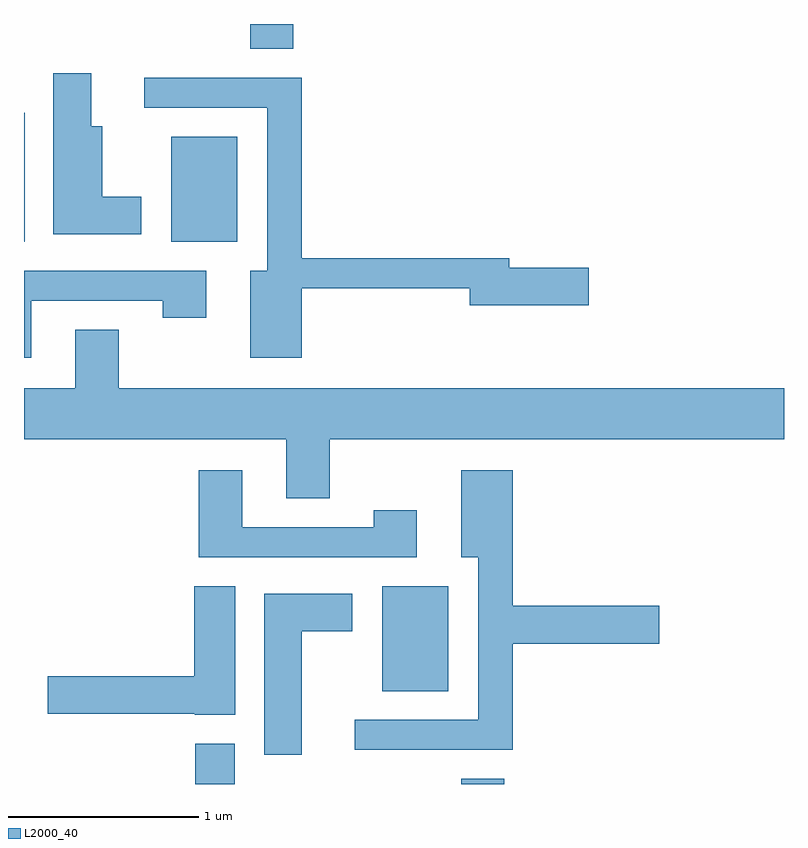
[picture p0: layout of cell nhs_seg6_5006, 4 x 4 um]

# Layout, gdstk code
import gdstk
lib = gdstk.Library(unit=1e-6, precision=1e-09)
def R(c, l, rs):  # rectangles x0, y0, x1, y1
    for r in rs: c.add(gdstk.rectangle(r[:2], r[2:], *l))
def P(c, l, *ps):  # polygons
    for p in ps: c.add(gdstk.Polygon(p, *l))
L2000_40 = (2000, 40)

nhs_seg6_5006 = lib.new_cell('nhs_seg6_5006')
R(nhs_seg6_5006, L2000_40, [(338.511,1608.162,338.719,1608.374), (339.911,1608.162,340.139,1608.189), (339.496,1608.651,339.844,1609.204), (337.611,1611.016,337.614,1611.694), (338.386,1611.016,338.734,1611.569), (338.801,1612.031,339.029,1612.162)])
P(nhs_seg6_5006, L2000_40, [(338.229,1611.254),(338.024,1611.254),(338.024,1611.624),(337.964,1611.624),(337.964,1611.904),(337.766,1611.904),(337.766,1611.056),(338.229,1611.056)],
  [(339.074,1610.771),(339.956,1610.771),(339.956,1610.681),(340.584,1610.681),(340.584,1610.879),(340.164,1610.879),(340.164,1610.929),(339.074,1610.929),(339.074,1611.879),(338.243,1611.879),(338.243,1611.721),(338.891,1611.721),(338.891,1610.864),(338.801,1610.864),(338.801,1610.406),(339.074,1610.406)],
  [(337.649,1610.706),(338.341,1610.706),(338.341,1610.616),(338.569,1610.616),(338.569,1610.864),(337.611,1610.864),(337.611,1610.406),(337.649,1610.406)],
  [(339.219,1609.976),(341.611,1609.976),(341.611,1610.244),(338.109,1610.244),(338.109,1610.554),(337.881,1610.554),(337.881,1610.244),(337.611,1610.244),(337.611,1609.976),(338.991,1609.976),(338.991,1609.666),(339.219,1609.666)],
  [(339.679,1609.604),(339.451,1609.604),(339.451,1609.514),(338.759,1609.514),(338.759,1609.814),(338.531,1609.814),(338.531,1609.356),(339.679,1609.356)],
  [(340.184,1608.901),(340.954,1608.901),(340.954,1609.099),(340.184,1609.099),(340.184,1609.814),(339.911,1609.814),(339.911,1609.356),(340.001,1609.356),(340.001,1608.499),(339.353,1608.499),(339.353,1608.341),(340.184,1608.341)],
  [(338.724,1609.204),(338.506,1609.204),(338.506,1608.729),(337.736,1608.729),(337.736,1608.531),(338.51,1608.531),(338.51,1608.526),(338.724,1608.526)],
  [(339.074,1608.966),(339.339,1608.966),(339.339,1609.164),(338.876,1609.164),(338.876,1608.316),(339.074,1608.316)])

lib.write_gds('nhs_seg6_5006.gds')
